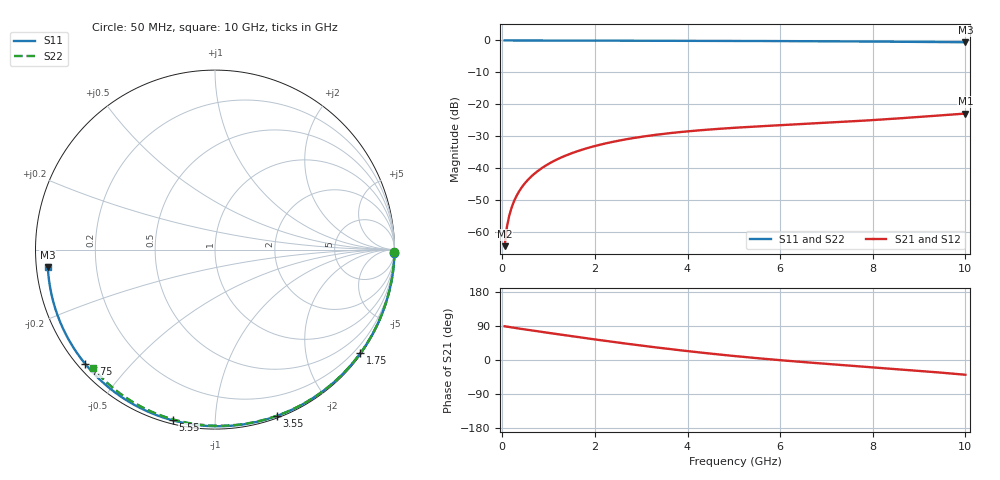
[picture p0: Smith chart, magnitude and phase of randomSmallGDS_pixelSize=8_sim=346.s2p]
! freq	dB(S11)	phase(S11)	dB(S12)	phase(S12)
!  dB(S21)	phase(S21)	dB(S22)	phase(S22)
!S-par simulation data
#  GHz  S  DB  R 50
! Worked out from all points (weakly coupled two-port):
!   200 points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, 50 MHz to 10 GHz, reference 50 ohm
!   highest |S21| = -22.87 dB at 10 GHz (marker M1); lowest = -64.4 dB at 50 MHz (marker M2)
!   lowest |S11| = -0.6 dB at 10 GHz (marker M3), VSWR 30.53, Z = 1.64 - j2.59 ohm
!   |S11| at or under -10 dB: nowhere
!   |S22| runs from -0.5 to 0.0 dB; largest |S21 - S12| = 0
!   S11 on the Smith chart (normalised r, x): 50 MHz: open; 1.75 GHz: 0.03, -3.13; 3.55 GHz: 0.02, -1.44; 5.55 GHz: 0.02, -0.78; 7.75 GHz: 0.02, -0.38; 10 GHz: 0.03, -0.05
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0.05  -0.00 -1.0  -64.38 89.0  -64.38 89.0  -0.00 -0.8
0.1  -0.00 -2.1  -58.36 88.0  -58.36 88.0  -0.00 -1.6
0.15  -0.00 -3.1  -54.85 87.0  -54.85 87.0  -0.00 -2.4
0.2  -0.00 -4.1  -52.36 86.0  -52.36 86.0  -0.00 -3.2
0.25  -0.00 -5.2  -50.44 85.1  -50.44 85.1  -0.00 -4.0
0.35  -0.01 -7.2  -47.54 83.2  -47.54 83.2  -0.00 -5.6
0.5  -0.01 -10.3  -44.49 80.5  -44.49 80.5  -0.01 -8.0
0.7  -0.02 -14.4  -41.62 76.9  -41.62 76.9  -0.01 -11.2
1  -0.03 -20.5  -38.62 71.6  -38.62 71.6  -0.02 -15.9
1.35  -0.04 -27.5  -36.14 65.4  -36.14 65.4  -0.03 -21.4
1.75  -0.05 -35.5  -34.06 58.5  -34.06 58.5  -0.04 -27.6
2.6  -0.07 -51.9  -31.12 44.4  -31.12 44.4  -0.06 -40.5
3.4  -0.09 -66.8  -29.37 32.1  -29.37 32.1  -0.07 -52.3
3.55  -0.10 -69.6  -29.12 29.8  -29.12 29.8  -0.08 -54.5
4.3  -0.12 -82.9  -28.07 19.4  -28.07 19.4  -0.10 -65.1
5.05  -0.15 -95.7  -27.30 10.0  -27.30 10.0  -0.12 -75.4
5.55  -0.17 -103.9  -26.87 4.3  -26.87 4.3  -0.14 -82.1
6.7  -0.24 -122.3  -26.00 -7.4  -26.00 -7.4  -0.19 -96.8
7.75  -0.32 -138.6  -25.15 -16.9  -25.15 -16.9  -0.26 -109.7
8.35  -0.38 -147.9  -24.59 -22.4  -24.59 -22.4  -0.30 -116.8
9.2  -0.47 -161.2  -23.73 -30.6  -23.73 -30.6  -0.38 -126.8
10  -0.57 -174.1  -22.87 -38.9  -22.87 -38.9  -0.47 -136.0
